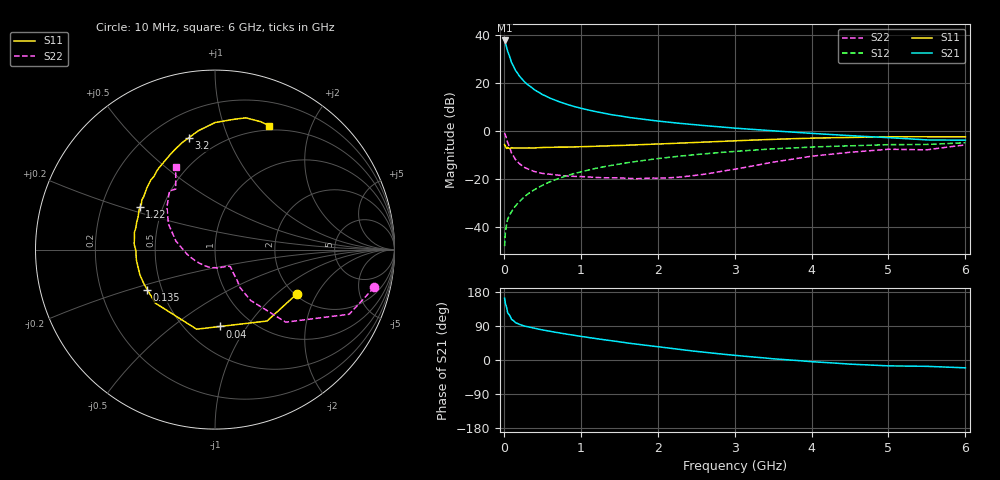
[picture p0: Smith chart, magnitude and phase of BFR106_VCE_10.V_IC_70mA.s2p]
! Infineon Technologies  Discrete & RF Semiconductors
! BFR106
! VCE =  10. V,  IC =  70 mA
! Common Emitter S-Parameters:  Nov 2015
# GHz  S  MA  R  50
!  f  S11  S21  S12  S22
! GHz  MAG  ANG  MAG  ANG  MAG  ANG  MAG  ANG
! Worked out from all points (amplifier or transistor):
!   210 points, 10 MHz to 6 GHz, reference 50 ohm
!   highest |S21| = 37.8 dB at 10 MHz (marker M1)
!   |S21| within 3 dB of that: start of sweep to 36.75 MHz
!   unconditionally stable (mu >= 1): 232.2 MHz to 2.367 GHz
!   at 185 MHz: K = 0.94, MSG = 26.9 dB, |S12| = -30.1 dB
!   at 1.52 GHz: K = 1.06, MAG = 8.4 dB, |S12| = -13.7 dB
!   at 6 GHz: K = 0.98, MSG = 0.5 dB, |S12| = -4.9 dB
!   S11 on the Smith chart (normalised r, x): 10 MHz: 2.04, -1.38; 40 MHz: 0.72, -0.76; 135 MHz: 0.42, -0.23; 1.22 GHz: 0.37, +0.23; 3.2 GHz: 0.35, +0.73; 6 GHz: 0.45, +1.43
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0.01  0.5183 -28.5  77.63 162.9  0.0039 81.0  0.9111 -13.4
0.02  0.4924 -53.9  69.47 149.5  0.0075 70.5  0.8302 -25.7
0.04  0.4292 -86.2  52.48 135.0  0.0121 62.4  0.6438 -37.2
0.05  0.4551 -103.0  45.92 124.1  0.0144 60.3  0.5651 -45.7
0.1  0.4467 -138.2  26.85 107.2  0.0205 61.3  0.3455 -55.0
0.135  0.4381 -149.4  20.96 102.1  0.025 63.5  0.281 -56.0
0.15  0.4397 -154.3  18.51 98.9  0.0269 64.2  0.2534 -56.6
0.2  0.4414 -161.6  14.15 94.3  0.033 67.1  0.2087 -54.1
0.24  0.4393 -166.8  11.91 91.4  0.0382 68.8  0.1839 -53.1
0.3  0.442 -172.5  9.508 87.9  0.0464 70.5  0.1629 -52.0
0.4  0.4408 -179.1  7.193 83.6  0.0594 71.6  0.1409 -49.5
0.5  0.4514 176.1  5.774 79.4  0.0727 71.6  0.1294 -48.0
0.6  0.4533 171.7  4.841 75.7  0.0865 71.6  0.1245 -49.0
0.8  0.4574 164.3  3.665 68.7  0.1135 69.7  0.1144 -52.2
1.02  0.466 156.9  2.924 61.8  0.1418 67.4  0.111 -58.2
1.22  0.4806 150.6  2.481 55.8  0.1681 65.0  0.1062 -66.0
2.02  0.5328 129.4  1.595 34.3  0.2656 54.2  0.103 -110.1
3.1  0.6311 105.2  1.113 10.5  0.3824 38.7  0.1687 -176.3
3.2  0.6394 103.3  1.084 8.8  0.3919 37.3  0.1806 178.9
4.1  0.7115 88.5  0.868 -5.6  0.4661 24.2  0.307 148.3
5.1  0.7539 75.5  0.709 -15.7  0.5163 11.4  0.4111 126.9
6  0.7538 66.4  0.641 -20.7  0.5659 1.3  0.5098 115.4
